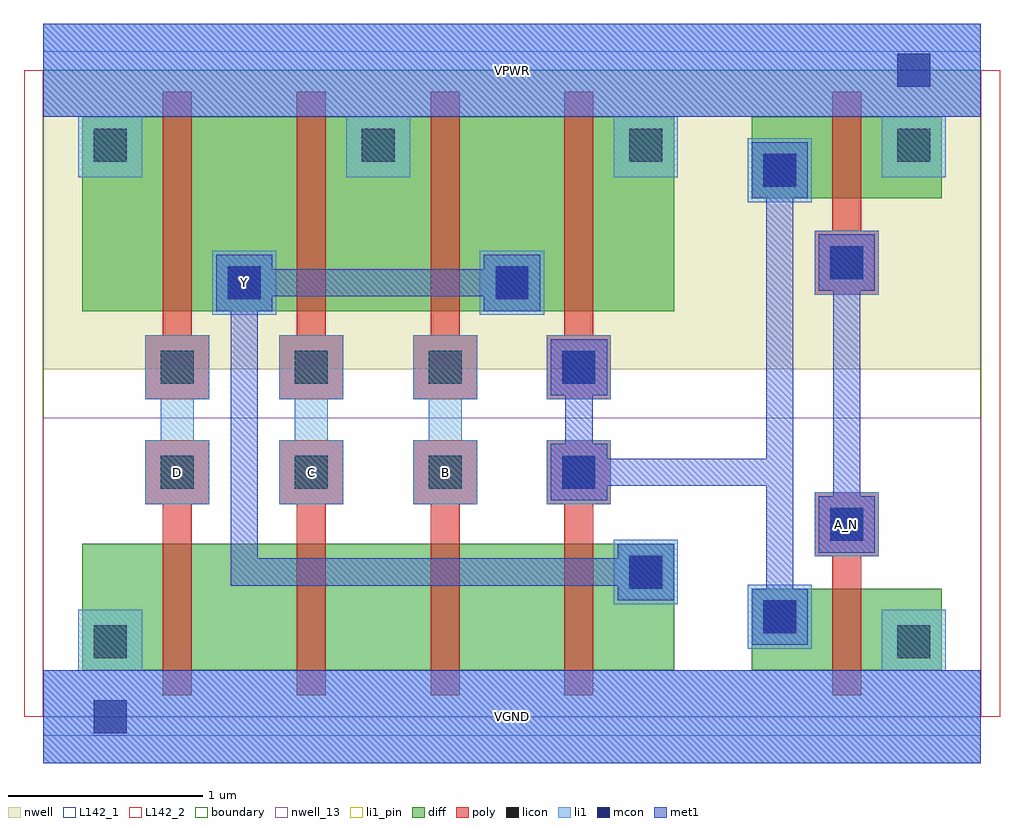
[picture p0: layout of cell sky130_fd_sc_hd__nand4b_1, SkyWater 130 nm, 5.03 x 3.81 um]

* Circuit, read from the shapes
.subckt sky130_fd_sc_hd__nand4b_1 A_N B C D VGND VPWR Y
XM1 n1 D VGND VSUBS sky130_fd_pr__nfet_01v8 w=0.65 l=0.15
XM2 n2 C n1 VSUBS sky130_fd_pr__nfet_01v8 w=0.65 l=0.15
XM3 n3 B n2 VSUBS sky130_fd_pr__nfet_01v8 w=0.65 l=0.15
XM4 Y n4 n3 VSUBS sky130_fd_pr__nfet_01v8 w=0.65 l=0.15
XM5 VGND A_N n4 VSUBS sky130_fd_pr__nfet_01v8 w=0.42 l=0.15
XM6 Y D VPWR n5 sky130_fd_pr__pfet_01v8 w=1 l=0.15
XM7 VPWR C Y n5 sky130_fd_pr__pfet_01v8 w=1 l=0.15
XM8 Y B VPWR n5 sky130_fd_pr__pfet_01v8 w=1 l=0.15
XM9 VPWR n4 Y n5 sky130_fd_pr__pfet_01v8 w=1 l=0.15
XM10 VPWR A_N n4 n5 sky130_fd_pr__pfet_01v8 w=0.42 l=0.15
.ends

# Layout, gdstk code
import gdstk
lib = gdstk.Library(unit=1e-6, precision=1e-09)
def R(c, l, rs):  # rectangles x0, y0, x1, y1
    for r in rs: c.add(gdstk.rectangle(r[:2], r[2:], *l))
def A(c, l, x, y, w, h, nx, ny, dx, dy):  # array of equal rectangles
    R(c, l, [(x+i*dx, y+j*dy, x+i*dx+w, y+j*dy+h) for i in range(nx) for j in range(ny)])
def P(c, l, *ps):  # polygons
    for p in ps: c.add(gdstk.Polygon(p, *l))
nwell_13 = (64, 13)
nwell = (64, 20)
diff = (65, 20)
poly = (66, 20)
licon = (66, 44)
li1_pin = (67, 16)
li1 = (67, 20)
mcon = (67, 44)
met1 = (68, 20)
L142_1 = (142, 1)
L142_2 = (142, 2)
boundary = (235, 4)

sky130_fd_sc_hd__nand4b_ = lib.new_cell('sky130_fd_sc_hd__nand4b_1')
R(sky130_fd_sc_hd__nand4b_, nwell_13, [(0,0,4.83,1.54)])
R(sky130_fd_sc_hd__nand4b_, nwell, [(0,1.79,4.83,3.33)])
A(sky130_fd_sc_hd__nand4b_, diff, 0.615, 0.24, 0.69, 0.65, 3, 1, 0.69, 0)
A(sky130_fd_sc_hd__nand4b_, diff, 0.615, 2.09, 0.69, 1, 3, 1, 0.69, 0)
R(sky130_fd_sc_hd__nand4b_, diff, [(0.2,0.24,3.25,0.89), (0.2,0.24,0.615,0.89), (2.685,0.24,3.25,0.89), (3.65,0.24,4.63,0.66), (3.65,0.24,4.065,0.66), (4.065,0.24,4.63,0.66), (0.2,2.09,3.25,3.09), (0.2,2.09,0.615,3.09), (2.685,2.09,3.25,3.09), (3.65,2.67,4.63,3.09), (3.65,2.67,4.065,3.09), (4.065,2.67,4.63,3.09)])
P(sky130_fd_sc_hd__nand4b_, poly, [(1.995,0.11),(1.995,1.095),(1.905,1.095),(1.905,1.425),(2.235,1.425),(2.235,1.095),(2.145,1.095),(2.145,0.11)],
  [(1.905,1.635),(1.905,1.965),(1.995,1.965),(1.995,3.22),(2.145,3.22),(2.145,1.965),(2.235,1.965),(2.235,1.635)],
  [(0.615,0.11),(0.615,1.095),(0.525,1.095),(0.525,1.425),(0.855,1.425),(0.855,1.095),(0.765,1.095),(0.765,0.11)],
  [(0.525,1.635),(0.525,1.965),(0.615,1.965),(0.615,3.22),(0.765,3.22),(0.765,1.965),(0.855,1.965),(0.855,1.635)],
  [(4.065,0.11),(4.065,0.825),(3.975,0.825),(3.975,1.155),(4.305,1.155),(4.305,0.825),(4.215,0.825),(4.215,0.11)],
  [(3.975,2.175),(3.975,2.505),(4.065,2.505),(4.065,3.22),(4.215,3.22),(4.215,2.505),(4.305,2.505),(4.305,2.175)],
  [(1.305,0.11),(1.305,1.095),(1.215,1.095),(1.215,1.425),(1.545,1.425),(1.545,1.095),(1.455,1.095),(1.455,0.11)],
  [(1.215,1.635),(1.215,1.965),(1.305,1.965),(1.305,3.22),(1.455,3.22),(1.455,1.965),(1.545,1.965),(1.545,1.635)],
  [(2.685,0.11),(2.685,1.095),(2.595,1.095),(2.595,1.425),(2.925,1.425),(2.925,1.095),(2.835,1.095),(2.835,0.11)],
  [(2.595,1.635),(2.595,1.965),(2.685,1.965),(2.685,3.22),(2.835,3.22),(2.835,1.965),(2.925,1.965),(2.925,1.635)])
A(sky130_fd_sc_hd__nand4b_, licon, 0.605, 1.175, 0.17, 0.17, 4, 2, 0.69, 0.54)
A(sky130_fd_sc_hd__nand4b_, licon, 0.26, 2.86, 0.17, 0.17, 4, 1, 1.38, 0)
R(sky130_fd_sc_hd__nand4b_, licon, [(0.26,0.3,0.43,0.47), (4.4,0.3,4.57,0.47), (3.71,0.43,3.88,0.6), (3.02,0.66,3.19,0.83), (4.055,0.905,4.225,1.075), (0.95,2.15,1.12,2.32), (2.33,2.15,2.5,2.32), (4.055,2.255,4.225,2.425), (3.71,2.73,3.88,2.9)])
R(sky130_fd_sc_hd__nand4b_, li1_pin, [(0,-0.24,4.83,0.24), (3.975,0.825,4.305,1.155), (0.87,2.07,1.2,2.4), (0,3.09,4.83,3.57)])
P(sky130_fd_sc_hd__nand4b_, li1_pin, [(0.525,1.095),(0.525,1.425),(0.605,1.425),(0.605,1.635),(0.525,1.635),(0.525,1.965),(0.855,1.965),(0.855,1.635),(0.775,1.635),(0.775,1.425),(0.855,1.425),(0.855,1.095)],
  [(1.215,1.095),(1.215,1.425),(1.295,1.425),(1.295,1.635),(1.215,1.635),(1.215,1.965),(1.545,1.965),(1.545,1.635),(1.465,1.635),(1.465,1.425),(1.545,1.425),(1.545,1.095)],
  [(1.905,1.095),(1.905,1.425),(1.985,1.425),(1.985,1.635),(1.905,1.635),(1.905,1.965),(2.235,1.965),(2.235,1.635),(2.155,1.635),(2.155,1.425),(2.235,1.425),(2.235,1.095)])
R(sky130_fd_sc_hd__nand4b_, li1, [(3.63,0.35,3.96,0.68), (2.94,0.58,3.27,0.91), (3.975,0.825,4.305,1.155), (2.595,1.095,2.925,1.425), (2.595,1.635,2.925,1.965), (0.87,2.07,1.2,2.4), (2.25,2.07,2.58,2.4), (3.975,2.175,4.305,2.505), (3.63,2.65,3.96,2.98)])
P(sky130_fd_sc_hd__nand4b_, li1, [(1.905,1.095),(1.905,1.425),(1.985,1.425),(1.985,1.635),(1.905,1.635),(1.905,1.965),(2.235,1.965),(2.235,1.635),(2.155,1.635),(2.155,1.425),(2.235,1.425),(2.235,1.095)],
  [(0.525,1.095),(0.525,1.425),(0.605,1.425),(0.605,1.635),(0.525,1.635),(0.525,1.965),(0.855,1.965),(0.855,1.635),(0.775,1.635),(0.775,1.425),(0.855,1.425),(0.855,1.095)],
  [(0.18,2.78),(0.18,3.09),(0,3.09),(0,3.57),(4.83,3.57),(4.83,3.09),(4.65,3.09),(4.65,2.78),(4.32,2.78),(4.32,3.09),(3.27,3.09),(3.27,2.78),(2.94,2.78),(2.94,3.09),(1.89,3.09),(1.89,2.78),(1.56,2.78),(1.56,3.09),(0.51,3.09),(0.51,2.78)],
  [(1.215,1.095),(1.215,1.425),(1.295,1.425),(1.295,1.635),(1.215,1.635),(1.215,1.965),(1.545,1.965),(1.545,1.635),(1.465,1.635),(1.465,1.425),(1.545,1.425),(1.545,1.095)],
  [(0,-0.24),(0,0.24),(0.18,0.24),(0.18,0.55),(0.51,0.55),(0.51,0.24),(4.32,0.24),(4.32,0.55),(4.65,0.55),(4.65,0.24),(4.83,0.24),(4.83,-0.24)])
R(sky130_fd_sc_hd__nand4b_, mcon, [(0.26,-0.085,0.43,0.085), (3.71,0.43,3.88,0.6), (3.02,0.66,3.19,0.83), (4.055,0.905,4.225,1.075), (2.675,1.175,2.845,1.345), (2.675,1.715,2.845,1.885), (0.95,2.15,1.12,2.32), (2.33,2.15,2.5,2.32), (4.055,2.255,4.225,2.425), (3.71,2.73,3.88,2.9), (4.4,3.245,4.57,3.415)])
R(sky130_fd_sc_hd__nand4b_, met1, [(0,-0.24,4.83,0.24), (0,3.09,4.83,3.57)])
P(sky130_fd_sc_hd__nand4b_, met1, [(2.96,0.6),(2.96,0.675),(0.965,0.675),(0.965,2.09),(0.89,2.09),(0.89,2.38),(1.18,2.38),(1.18,2.305),(2.27,2.305),(2.27,2.38),(2.56,2.38),(2.56,2.09),(2.27,2.09),(2.27,2.165),(1.18,2.165),(1.18,2.09),(1.105,2.09),(1.105,0.815),(2.96,0.815),(2.96,0.89),(3.25,0.89),(3.25,0.6)],
  [(3.995,0.845),(3.995,1.135),(4.07,1.135),(4.07,2.195),(3.995,2.195),(3.995,2.485),(4.285,2.485),(4.285,2.195),(4.21,2.195),(4.21,1.135),(4.285,1.135),(4.285,0.845)],
  [(3.65,0.37),(3.65,0.66),(3.725,0.66),(3.725,1.19),(2.905,1.19),(2.905,1.115),(2.615,1.115),(2.615,1.405),(2.69,1.405),(2.69,1.655),(2.615,1.655),(2.615,1.945),(2.905,1.945),(2.905,1.655),(2.83,1.655),(2.83,1.405),(2.905,1.405),(2.905,1.33),(3.725,1.33),(3.725,2.67),(3.65,2.67),(3.65,2.96),(3.94,2.96),(3.94,2.67),(3.865,2.67),(3.865,0.66),(3.94,0.66),(3.94,0.37)])
R(sky130_fd_sc_hd__nand4b_, L142_1, [(0,-0.1,4.83,0), (0,3.33,4.83,3.43)])
R(sky130_fd_sc_hd__nand4b_, L142_2, [(-0.1,0,0,3.33), (4.83,0,4.93,3.33)])
R(sky130_fd_sc_hd__nand4b_, boundary, [(0,0,4.83,3.33)])
sky130_fd_sc_hd__nand4b_.add(gdstk.Label('Y', (1.035,2.235), layer=67, texttype=5))
sky130_fd_sc_hd__nand4b_.add(gdstk.Label('A_N', (4.14,0.99), layer=67, texttype=5))
sky130_fd_sc_hd__nand4b_.add(gdstk.Label('D', (0.69,1.26), layer=67, texttype=5))
sky130_fd_sc_hd__nand4b_.add(gdstk.Label('C', (1.38,1.26), layer=67, texttype=5))
sky130_fd_sc_hd__nand4b_.add(gdstk.Label('B', (2.07,1.26), layer=67, texttype=5))
sky130_fd_sc_hd__nand4b_.add(gdstk.Label('VGND', (2.415,0), layer=67, texttype=5))
sky130_fd_sc_hd__nand4b_.add(gdstk.Label('VPWR', (2.415,3.33), layer=67, texttype=5))
sky130_fd_sc_hd__nand4b_.add(gdstk.Label('VGND', (2.415,0), layer=68, texttype=5))
sky130_fd_sc_hd__nand4b_.add(gdstk.Label('VPWR', (2.415,3.33), layer=68, texttype=5))

lib.write_gds('sky130_fd_sc_hd__nand4b_1.gds')
